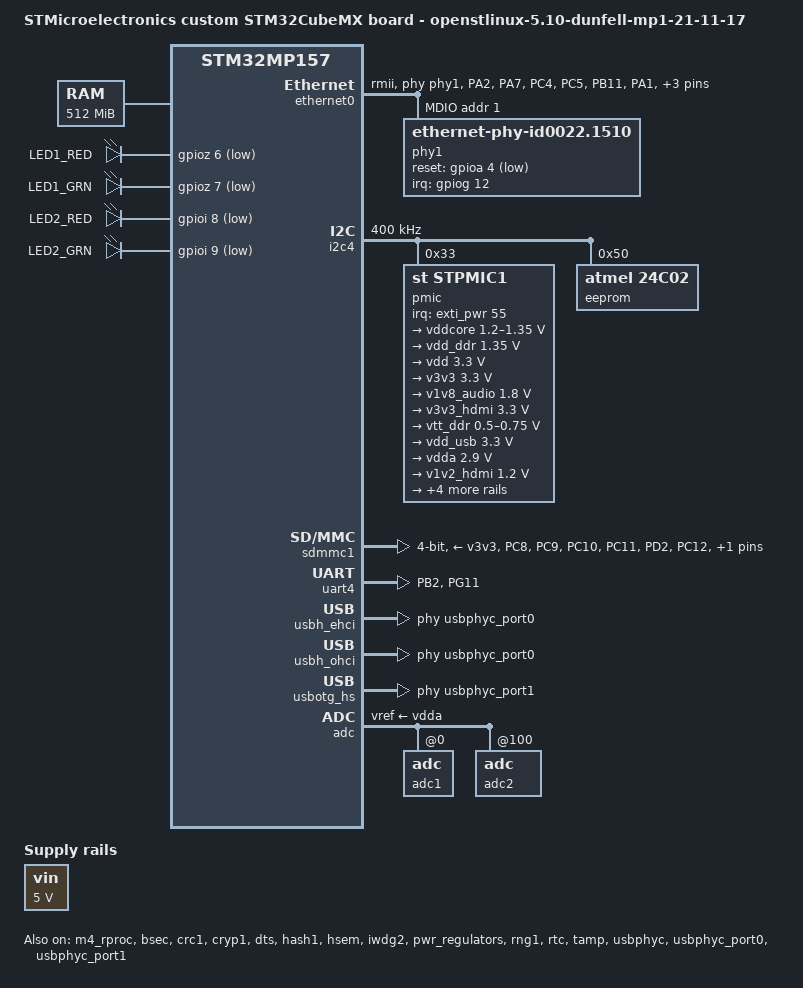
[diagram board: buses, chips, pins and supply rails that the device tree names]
/* SPDX-License-Identifier: (GPL-2.0+ OR BSD-3-Clause) */
/*
 * Copyright (C) STMicroelectronics 2021 - All Rights Reserved
 * Author: STM32CubeMX code generation for STMicroelectronics.
 */

/* For more information on Device Tree configuration, please refer to
 * https://wiki.st.com/stm32mpu/wiki/Category:Device_tree_configuration
 */

/dts-v1/;
#include <dt-bindings/pinctrl/stm32-pinfunc.h>

#include "stm32mp157.dtsi"
#include "stm32mp15xc.dtsi"
#include "stm32mp15xxac-pinctrl.dtsi"
#include "stm32mp15-m4-srm.dtsi"
#include <dt-bindings/mfd/st,stpmic1.h>
#include <dt-bindings/rtc/rtc-stm32.h>

/* USER CODE BEGIN includes */
/* USER CODE END includes */

/ {
	model = "STMicroelectronics custom STM32CubeMX board - openstlinux-5.10-dunfell-mp1-21-11-17";
	compatible = "st,stm32mp157c-osd32mp157c-512m-baa_minimalconfig-mx", "st,stm32mp157";

	memory@c0000000 {
		device_type = "memory";
		reg = <0xc0000000 0x20000000>;

		/* USER CODE BEGIN memory */
		/* USER CODE END memory */
	};

	reserved-memory {
		#address-cells = <1>;
		#size-cells = <1>;
		ranges;

		/* USER CODE BEGIN reserved-memory */
		/* USER CODE END reserved-memory */
	};

	/* USER CODE BEGIN root */
	/* USER CODE END root */

	led{
		compatible = "gpio-leds";

		red1{
			label = "LED1_RED";
			gpios = <&gpioz 6 GPIO_ACTIVE_LOW>;
			linux,default-trigger = "heartbeat";
			status = "okay";
			default-state = "off";
		};

		green1{
			label = "LED1_GRN";
			gpios = <&gpioz 7 GPIO_ACTIVE_LOW>;
			status = "okay";
			default-state = "on";
		};

		red2{
			label = "LED2_RED";
			gpios = <&gpioi 8 GPIO_ACTIVE_LOW>;
			status = "okay";
			default-state = "off";
		};

		green2{
			label = "LED2_GRN";
			gpios = <&gpioi 9 GPIO_ACTIVE_LOW>;
			default-state = "off";
		};
	};

	usb_phy_tuning:usb-phy-tuning{
		st,hs-dc-level = <2>;
		st,fs-rftime-tuning;
		st,hs-rftime-reduction;
		st,hs-current-trim = <15>;
		st,hs-impedance-trim = <1>;
		st,squelch-level = <3>;
		st,hs-rx-offset = <2>;
		st,no-lsfs-sc;
	};

	vin:vin{
		compatible = "regulator-fixed";
		regulator-name = "vin";
		regulator-min-microvolt = <5000000>;
		regulator-max-microvolt = <5000000>;
		regulator-always-on;
	};

	aliases{
    ethernet0 = &ethernet0;
		serial0 = &uart4;
	};

	chosen{
		stdout-path = "serial0:115200n8";
	};


	clocks {
		/* USER CODE BEGIN clocks */
		/* USER CODE END clocks */

#ifndef CONFIG_TFABOOT
		clk_lsi: clk-lsi {
			clock-frequency = <32000>;
		};
		clk_hsi: clk-hsi {
			clock-frequency = <64000000>;
		};
		clk_csi: clk-csi {
			clock-frequency = <4000000>;
		};
		clk_lse: clk-lse {
			clock-frequency = <32768>;
		};
		clk_hse: clk-hse {
			clock-frequency = <24000000>;
		};
#endif	/*CONFIG_TFABOOT*/
	};

}; /*root*/

&pinctrl {
	u-boot,dm-pre-reloc;

	eth1_pins_mx: eth1_mx-0 {
		pins1 {
			pinmux = <STM32_PINMUX('A', 2, AF11)>; /* ETH1_MDIO */
			bias-pull-up;
			drive-push-pull;
			slew-rate = <0>;
		};
		pins2 {
			pinmux = <STM32_PINMUX('A', 7, AF11)>, /* ETH1_CRS_DV */
					 <STM32_PINMUX('C', 4, AF11)>, /* ETH1_RXD0 */
					 <STM32_PINMUX('C', 5, AF11)>; /* ETH1_RXD1 */
			bias-disable;
		};
		pins3 {
			pinmux = <STM32_PINMUX('B', 11, AF11)>; /* ETH1_TX_EN */
		};
		pins4 {
			pinmux = <STM32_PINMUX('A', 1, AF0)>, /* ETH1_CLK */
					 <STM32_PINMUX('B', 13, AF11)>, /* ETH1_TXD1 */
					 <STM32_PINMUX('C', 1, AF11)>, /* ETH1_MDC */
					 <STM32_PINMUX('G', 13, AF11)>; /* ETH1_TXD0 */
			bias-disable;
			drive-push-pull;
			slew-rate = <1>;
		};
	};

	eth1_sleep_pins_mx: eth1_sleep_mx-0 {
		pins {
			pinmux = <STM32_PINMUX('A', 2, ANALOG)>, /* ETH1_MDIO */
					 <STM32_PINMUX('A', 7, ANALOG)>, /* ETH1_CRS_DV */
					 <STM32_PINMUX('B', 5, ANALOG)>, /* ETH1_CLK */
					 <STM32_PINMUX('B', 11, ANALOG)>, /* ETH1_TX_EN */
					 <STM32_PINMUX('B', 13, ANALOG)>, /* ETH1_TXD1 */
					 <STM32_PINMUX('C', 1, ANALOG)>, /* ETH1_MDC */
					 <STM32_PINMUX('C', 4, ANALOG)>, /* ETH1_RXD0 */
					 <STM32_PINMUX('C', 5, ANALOG)>, /* ETH1_RXD1 */
					 <STM32_PINMUX('G', 13, ANALOG)>; /* ETH1_TXD0 */
		};
	};

	sdmmc1_pins_mx: sdmmc1_mx-0 {
		u-boot,dm-pre-reloc;
		pins1 {
			u-boot,dm-pre-reloc;
			pinmux = <STM32_PINMUX('C', 8, AF12)>, /* SDMMC1_D0 */
					 <STM32_PINMUX('C', 9, AF12)>, /* SDMMC1_D1 */
					 <STM32_PINMUX('C', 10, AF12)>, /* SDMMC1_D2 */
					 <STM32_PINMUX('C', 11, AF12)>, /* SDMMC1_D3 */
					 <STM32_PINMUX('D', 2, AF12)>; /* SDMMC1_CMD */
			bias-disable;
			drive-push-pull;
			slew-rate = <1>;
		};
		pins2 {
			u-boot,dm-pre-reloc;
			pinmux = <STM32_PINMUX('C', 12, AF12)>; /* SDMMC1_CK */
			bias-disable;
			drive-push-pull;
			slew-rate = <3>;
		};
	};

	sdmmc1_opendrain_pins_mx: sdmmc1_opendrain_mx-0 {
		u-boot,dm-pre-reloc;
		pins1 {
			u-boot,dm-pre-reloc;
			pinmux = <STM32_PINMUX('C', 8, AF12)>, /* SDMMC1_D0 */
					 <STM32_PINMUX('C', 9, AF12)>, /* SDMMC1_D1 */
					 <STM32_PINMUX('C', 10, AF12)>, /* SDMMC1_D2 */
					 <STM32_PINMUX('C', 11, AF12)>; /* SDMMC1_D3 */
			bias-disable;
			drive-push-pull;
			slew-rate = <1>;
		};
		pins2 {
			u-boot,dm-pre-reloc;
			pinmux = <STM32_PINMUX('C', 12, AF12)>; /* SDMMC1_CK */
			bias-disable;
			drive-push-pull;
			slew-rate = <3>;
		};
		pins3 {
			u-boot,dm-pre-reloc;
			pinmux = <STM32_PINMUX('D', 2, AF12)>; /* SDMMC1_CMD */
			bias-disable;
			drive-open-drain;
			slew-rate = <1>;
		};
	};

	sdmmc1_sleep_pins_mx: sdmmc1_sleep_mx-0 {
		u-boot,dm-pre-reloc;
		pins {
			u-boot,dm-pre-reloc;
			pinmux = <STM32_PINMUX('C', 8, ANALOG)>, /* SDMMC1_D0 */
					 <STM32_PINMUX('C', 9, ANALOG)>, /* SDMMC1_D1 */
					 <STM32_PINMUX('C', 10, ANALOG)>, /* SDMMC1_D2 */
					 <STM32_PINMUX('C', 11, ANALOG)>, /* SDMMC1_D3 */
					 <STM32_PINMUX('C', 12, ANALOG)>, /* SDMMC1_CK */
					 <STM32_PINMUX('D', 2, ANALOG)>; /* SDMMC1_CMD */
		};
	};

	uart4_pins_mx: uart4_mx-0 {
		u-boot,dm-pre-reloc;
		pins1 {
			u-boot,dm-pre-reloc;
			pinmux = <STM32_PINMUX('B', 2, AF8)>; /* UART4_RX */
			bias-disable;
		};
		pins2 {
			u-boot,dm-pre-reloc;
			pinmux = <STM32_PINMUX('G', 11, AF6)>; /* UART4_TX */
			bias-disable;
			drive-push-pull;
			slew-rate = <0>;
		};
	};

	uart4_sleep_pins_mx: uart4_sleep_mx-0 {
		u-boot,dm-pre-reloc;
		pins {
			u-boot,dm-pre-reloc;
			pinmux = <STM32_PINMUX('B', 2, ANALOG)>, /* UART4_RX */
					 <STM32_PINMUX('G', 11, ANALOG)>; /* UART4_TX */
		};
	};

	/* USER CODE BEGIN pinctrl */
	/* USER CODE END pinctrl */
};

&pinctrl_z {
	u-boot,dm-pre-reloc;

	i2c4_pins_z_mx: i2c4_mx-0 {
		u-boot,dm-pre-reloc;
		pins {
			u-boot,dm-pre-reloc;
			pinmux = <STM32_PINMUX('Z', 4, AF6)>, /* I2C4_SCL */
					 <STM32_PINMUX('Z', 5, AF6)>; /* I2C4_SDA */
			bias-pull-up;
			drive-open-drain;
			slew-rate = <0>;
		};
	};

	i2c4_sleep_pins_z_mx: i2c4_sleep_mx-0 {
		u-boot,dm-pre-reloc;
		pins {
			u-boot,dm-pre-reloc;
			pinmux = <STM32_PINMUX('Z', 4, ANALOG)>, /* I2C4_SCL */
					 <STM32_PINMUX('Z', 5, ANALOG)>; /* I2C4_SDA */
		};
	};

	/* USER CODE BEGIN pinctrl_z */
	/* USER CODE END pinctrl_z */
};

&m4_rproc{
	/*Restriction: "memory-region" property is not managed - please to use User-Section if needed*/
	mboxes = <&ipcc 0>, <&ipcc 1>, <&ipcc 2>;
	mbox-names = "vq0", "vq1", "shutdown";
	status = "okay";

	/* USER CODE BEGIN m4_rproc */
	/* USER CODE END m4_rproc */

	m4_system_resources{
		status = "okay";

		/* USER CODE BEGIN m4_system_resources */
		/* USER CODE END m4_system_resources */
	};
};

&bsec{
	status = "okay";

	/* USER CODE BEGIN bsec */
	/* USER CODE END bsec */
};

&crc1{
	status = "okay";

	/* USER CODE BEGIN crc1 */
	/* USER CODE END crc1 */
};

&cryp1{
	u-boot,dm-pre-reloc;
	status = "okay";

	/* USER CODE BEGIN cryp1 */
	/* USER CODE END cryp1 */
};

&dma1{
	status = "okay";

	/* USER CODE BEGIN dma1 */
	/* USER CODE END dma1 */
};

&dma2{
	status = "disabled";

	/* USER CODE BEGIN dma2 */
	/* USER CODE END dma2 */
};

&dmamux1{
	status = "okay";

	dma-masters = <&dma1>;
	dma-channels = <8>;

	/* USER CODE BEGIN dmamux1 */
	/* USER CODE END dmamux1 */
};

&dts{
	status = "okay";

	/* USER CODE BEGIN dts */
	/* USER CODE END dts */
};

&ethernet0{
	pinctrl-names = "default", "sleep";
	pinctrl-0 = <&eth1_pins_mx>;
	pinctrl-1 = <&eth1_sleep_pins_mx>;
	status = "okay";
	phy-mode = "rmii";
	max-speed = <100>;
	phy-handle = <&phy1>;
	st,eth-ref-clk-sel;
	clock-names = "stmmaceth",
		"eth-ck",
		"mac-clk-tx",
		"mac-clk-rx",
		"ethstp";
	clocks = <&rcc ETHMAC>,
		<&rcc ETHCK_K>,
		<&rcc ETHTX>,
		<&rcc ETHRX>,
		<&rcc ETHSTP>;

	mdio0 {
		compatible = "snps,dwmac-mdio";
		#address-cells = <1>;
		#size-cells = <0>;
		phy1: ethernet-phy@1 {
			reset-gpios = <&gpioa 4 GPIO_ACTIVE_LOW>; /* ETH_RST# */
			interrupt-parent = <&gpiog>;
			interrupts = <12 IRQ_TYPE_EDGE_FALLING>; /* ETH_MDINT# */
			reset-delay-us = <10000>;
			post-reset-delay-us = <1000>;
			compatible = "ethernet-phy-id0022.1510";
			reg = <1>;
			clocks = <&rcc ETHCK_K>;
			clock-names = "rmii-ref";
		};
	};
};

&hash1{
	u-boot,dm-pre-reloc;
	status = "okay";

	/* USER CODE BEGIN hash1 */
	/* USER CODE END hash1 */
};

&hsem{
	status = "okay";

	/* USER CODE BEGIN hsem */
	/* USER CODE END hsem */
};

&i2c4{
	u-boot,dm-pre-reloc;
	pinctrl-names = "default", "sleep";
	pinctrl-0 = <&i2c4_pins_z_mx>;
	pinctrl-1 = <&i2c4_sleep_pins_z_mx>;
	status = "okay";

	i2c-scl-rising-time-ns = <185>;
	i2c-scl-falling-time-ns = <20>;
	clock-frequency = <400000>;
	/delete-property/ dmas;
	/delete-property/ dma-names;

	pmic:stpmic@33{
		compatible = "st,stpmic1";
		reg = <0x33>;
		interrupts-extended = <&exti_pwr 55 IRQ_TYPE_EDGE_FALLING>;
		interrupt-controller;
		#interrupt-cells = <2>;
		status = "okay";

		regulators{
			compatible = "st,stpmic1-regulators";
			buck1-supply = <&vin>;
			buck2-supply = <&vin>;
			buck3-supply = <&vin>;
			buck4-supply = <&vin>;
			ldo1-supply = <&v3v3>;
			ldo2-supply = <&vin>;
			ldo3-supply = <&vdd_ddr>;
			ldo4-supply = <&vin>;
			ldo5-supply = <&vin>;
			ldo6-supply = <&v3v3>;
			vref_ddr-supply = <&vin>;
			boost-supply = <&vin>;
			pwr_sw1-supply = <&bst_out>;
			pwr_sw2-supply = <&bst_out>;

			vddcore:buck1{
				regulator-name = "vddcore";
				regulator-min-microvolt = <1200000>;
				regulator-max-microvolt = <1350000>;
				regulator-always-on;
				regulator-initial-mode = <0>;
				regulator-over-current-protection;
			};

			vdd_ddr:buck2{
				regulator-name = "vdd_ddr";
				regulator-min-microvolt = <1350000>;
				regulator-max-microvolt = <1350000>;
				regulator-always-on;
				regulator-initial-mode = <0>;
				regulator-over-current-protection;
			};

			vdd:buck3{
				regulator-name = "vdd";
				regulator-min-microvolt = <3300000>;
				regulator-max-microvolt = <3300000>;
				regulator-always-on;
				st,mask-reset;
				regulator-initial-mode = <0>;
				regulator-over-current-protection;
			};

			v3v3:buck4{
				regulator-name = "v3v3";
				regulator-min-microvolt = <3300000>;
				regulator-max-microvolt = <3300000>;
				regulator-always-on;
				regulator-over-current-protection;
				regulator-initial-mode = <0>;
			};

			v1v8_audio:ldo1{
				regulator-name = "v1v8_audio";
				regulator-min-microvolt = <1800000>;
				regulator-max-microvolt = <1800000>;
				regulator-always-on;
				interrupts = <IT_CURLIM_LDO1 0>;
			};

			v3v3_hdmi:ldo2{
				regulator-name = "v3v3_hdmi";
				regulator-min-microvolt = <3300000>;
				regulator-max-microvolt = <3300000>;
				regulator-always-on;
				interrupts = <IT_CURLIM_LDO2 0>;
			};

			vtt_ddr:ldo3{
				regulator-name = "vtt_ddr";
				regulator-min-microvolt = <500000>;
				regulator-max-microvolt = <750000>;
				regulator-always-on;
				regulator-over-current-protection;
			};

			vdd_usb:ldo4{
				regulator-name = "vdd_usb";
				regulator-min-microvolt = <3300000>;
				regulator-max-microvolt = <3300000>;
				interrupts = <IT_CURLIM_LDO4 0>;
				regulator-always-on;
			};

			vdda:ldo5{
				regulator-name = "vdda";
				regulator-min-microvolt = <2900000>;
				regulator-max-microvolt = <2900000>;
				interrupts = <IT_CURLIM_LDO5 0>;
				regulator-boot-on;
			};

			v1v2_hdmi:ldo6{
				regulator-name = "v1v2_hdmi";
				regulator-min-microvolt = <1200000>;
				regulator-max-microvolt = <1200000>;
				regulator-always-on;
				interrupts = <IT_CURLIM_LDO6 0>;
			};

			vref_ddr:vref_ddr{
				regulator-name = "vref_ddr";
				regulator-always-on;
				regulator-over-current-protection;
			};

			bst_out:boost{
				regulator-name = "bst_out";
				interrupts = <IT_OCP_BOOST 0>;
			};

			vbus_otg:pwr_sw1{
				regulator-name = "vbus_otg";
				interrupts = <IT_OCP_OTG 0>;
			};

			vbus_sw:pwr_sw2{
				regulator-name = "vbus_sw";
				interrupts = <IT_OCP_SWOUT 0>;
				regulator-active-discharge = <1>;
			};
		};

		onkey{
			compatible = "st,stpmic1-onkey";
			interrupts = <IT_PONKEY_F 0>, <IT_PONKEY_R 0>;
			interrupt-names = "onkey-falling", "onkey-rising";
			power-off-time-sec = <10>;
			status = "okay";
		};

		watchdog {
			compatible = "st,stpmic1-wdt";
			status = "disabled";
		};
	};
	eeprom@50 {
		compatible = "atmel,24c02";
		reg = <0x50>;
		pagesize = <16>;
	};
};

&ipcc{
	status = "okay";

	/* USER CODE BEGIN ipcc */
	/* USER CODE END ipcc */
};

&iwdg2{
	u-boot,dm-pre-reloc;
	status = "okay";
	timeout-sec = <32>;
};

&m4_dma2{
	status = "okay";

	/* USER CODE BEGIN m4_dma2 */
	/* USER CODE END m4_dma2 */
};

&mdma1{
	status = "okay";

	/* USER CODE BEGIN mdma1 */
	/* USER CODE END mdma1 */
};

&pwr_regulators{
	status = "okay";

	/* USER CODE BEGIN pwr_regulators */
	/* USER CODE END pwr_regulators */
};

&rcc{
	u-boot,dm-pre-reloc;
	status = "okay";

	/* USER CODE BEGIN rcc */
	/* USER CODE END rcc */
};

&rng1{
	status = "okay";

	/* USER CODE BEGIN rng1 */
	/* USER CODE END rng1 */
};

&rtc{
	status = "okay";

	/* USER CODE BEGIN rtc */
	/* USER CODE END rtc */
};

&sdmmc1{
	u-boot,dm-pre-reloc;
	pinctrl-names = "default", "opendrain", "sleep";
	pinctrl-0 = <&sdmmc1_pins_mx>;
	pinctrl-1 = <&sdmmc1_opendrain_pins_mx>;
	pinctrl-2 = <&sdmmc1_sleep_pins_mx>;
	status = "okay";

	cd-gpios = <&gpiog 7 (GPIO_ACTIVE_LOW | GPIO_PULL_UP)>;
	disable-wp;
	st,neg-edge;
	bus-width = <4>;
	vmmc-supply = <&v3v3>;
};

&tamp{
	status = "okay";

	/* USER CODE BEGIN tamp */
	/* USER CODE END tamp */
};

&uart4{
	u-boot,dm-pre-reloc;
	pinctrl-names = "default", "sleep";
	pinctrl-0 = <&uart4_pins_mx>;
	pinctrl-1 = <&uart4_sleep_pins_mx>;
	status = "okay";

	/delete-property/ dmas;
	/delete-property/ dma-names;
};

&usbh_ehci{
	status = "okay";
	phys = <&usbphyc_port0>;
};

&usbh_ohci{
	status = "okay";
};

&usbotg_hs{
	u-boot,dm-pre-reloc;
	status = "okay";
	phys = <&usbphyc_port1 0>;
	phy-names = "usb2-phy";
};

&usbphyc{
	u-boot,dm-pre-reloc;
	status = "okay";
};

&usbphyc_port0{
	u-boot,dm-pre-reloc;
	status = "okay";
	phy-supply = <&vdd_usb>;
	st,phy-tuning = <&usb_phy_tuning>;
};

&usbphyc_port1{
	u-boot,dm-pre-reloc;
	status = "okay";
	phy-supply = <&vdd_usb>;
	st,phy-tuning = <&usb_phy_tuning>;
};

&adc {
  vdd-supply = <&vdd>;
  vdda-supply = <&vdda>;
  vref-supply = <&vdda>;
	status = "okay";
  adc1: adc@0 {
    st,min-sample-time-nsecs = <5000>;
    st,adc-channels = <0 1>;
    status = "okay";
  };

  adc2: adc@100 {
    status = "okay";
  };

  adc_temp: temp {
    status = "okay";
  };
};

&usbh_ohci{
	phys = <&usbphyc_port0>;
};

&cpu0{
	cpu-supply = <&vddcore>;
};

&cpu1{
	cpu-supply = <&vddcore>;
};

&sram{
	dma_pool:dma_pool@0{
		reg = <0x50000 0x10000>;
		pool;
	};
};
